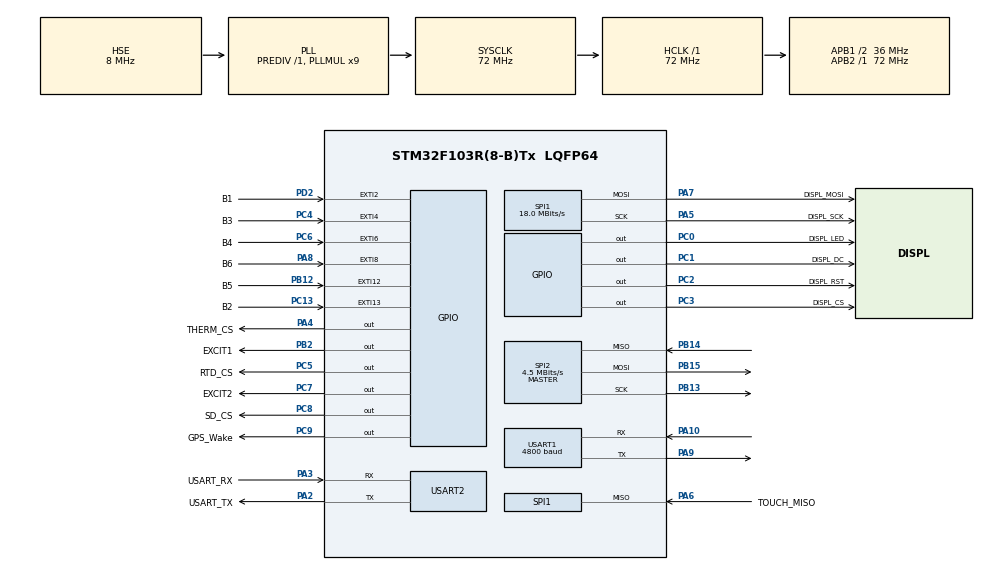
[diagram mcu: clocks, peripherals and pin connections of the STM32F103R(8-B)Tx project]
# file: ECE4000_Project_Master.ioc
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Dma.Request0=SPI1_RX
Dma.Request1=SPI1_TX
Dma.Request2=USART1_RX
Dma.SPI1_RX.0.Direction=DMA_PERIPH_TO_MEMORY
Dma.SPI1_RX.0.Instance=DMA1_Channel2
Dma.SPI1_RX.0.MemDataAlignment=DMA_MDATAALIGN_BYTE
Dma.SPI1_RX.0.MemInc=DMA_MINC_ENABLE
Dma.SPI1_RX.0.Mode=DMA_NORMAL
Dma.SPI1_RX.0.PeriphDataAlignment=DMA_PDATAALIGN_BYTE
Dma.SPI1_RX.0.PeriphInc=DMA_PINC_DISABLE
Dma.SPI1_RX.0.Priority=DMA_PRIORITY_LOW
Dma.SPI1_TX.1.Direction=DMA_MEMORY_TO_PERIPH
Dma.SPI1_TX.1.Instance=DMA1_Channel3
Dma.SPI1_TX.1.MemDataAlignment=DMA_MDATAALIGN_BYTE
Dma.SPI1_TX.1.MemInc=DMA_MINC_ENABLE
Dma.SPI1_TX.1.Mode=DMA_NORMAL
Dma.SPI1_TX.1.PeriphDataAlignment=DMA_PDATAALIGN_BYTE
Dma.SPI1_TX.1.PeriphInc=DMA_PINC_DISABLE
Dma.SPI1_TX.1.Priority=DMA_PRIORITY_LOW
Dma.USART1_RX.2.Direction=DMA_PERIPH_TO_MEMORY
Dma.USART1_RX.2.Instance=DMA1_Channel5
Dma.USART1_RX.2.MemDataAlignment=DMA_MDATAALIGN_BYTE
Dma.USART1_RX.2.MemInc=DMA_MINC_ENABLE
Dma.USART1_RX.2.Mode=DMA_CIRCULAR
Dma.USART1_RX.2.PeriphDataAlignment=DMA_PDATAALIGN_BYTE
Dma.USART1_RX.2.PeriphInc=DMA_PINC_DISABLE
Dma.USART1_RX.2.Priority=DMA_PRIORITY_LOW
FATFS._CODE_PAGE=437
FATFS._USE_LABEL=1
FATFS._USE_LFN=1
Mcu.Family=STM32F1
Mcu.Name=STM32F103R(8-B)Tx
Mcu.Package=LQFP64
NVIC.DMA1_Channel2_IRQn=true\:0\:0\:false\:false\:true\:false\:true\:true
NVIC.DMA1_Channel3_IRQn=true\:0\:0\:false\:false\:true\:false\:true\:true
NVIC.DMA1_Channel5_IRQn=true\:0\:0\:false\:false\:true\:false\:true\:true
NVIC.EXTI15_10_IRQn=true\:0\:0\:false\:false\:true\:true\:true\:true
NVIC.EXTI2_IRQn=true\:0\:0\:false\:false\:true\:true\:true\:true
NVIC.EXTI4_IRQn=true\:0\:0\:false\:false\:true\:true\:true\:true
NVIC.EXTI9_5_IRQn=true\:0\:0\:false\:false\:true\:true\:true\:true
NVIC.PriorityGroup=NVIC_PRIORITYGROUP_4
NVIC.TIM2_IRQn=true\:0\:0\:false\:false\:true\:true\:true\:true
PA10.Mode=Asynchronous
PA10.Signal=USART1_RX
PA13.GPIO_Label=TMS
PA13.Mode=Serial_Wire
PA13.Signal=SYS_JTMS-SWDIO
PA14.GPIO_Label=TCK
PA14.Mode=Serial_Wire
PA14.Signal=SYS_JTCK-SWCLK
PA2.GPIO_Label=USART_TX
PA2.GPIO_Mode=GPIO_MODE_AF_PP
PA2.GPIO_PuPd=GPIO_NOPULL
PA2.GPIO_Speed=GPIO_SPEED_FREQ_LOW
PA2.Mode=Asynchronous
PA2.Signal=USART2_TX
PA3.GPIO_Label=USART_RX
PA3.GPIO_Mode=GPIO_MODE_AF_PP
PA3.GPIO_PuPd=GPIO_NOPULL
PA3.GPIO_Speed=GPIO_SPEED_FREQ_LOW
PA3.Mode=Asynchronous
PA3.Signal=USART2_RX
PA4.GPIO_Label=THERM_CS
PA4.GPIO_Speed=GPIO_SPEED_FREQ_HIGH
PA4.PinState=GPIO_PIN_SET
PA4.Signal=GPIO_Output
PA5.GPIO_Label=DISPL_SCK
PA5.Mode=Full_Duplex_Master
PA5.Signal=SPI1_SCK
PA6.GPIO_Label=TOUCH_MISO
PA6.GPIO_PuPd=GPIO_NOPULL
PA6.Mode=Full_Duplex_Master
PA6.Signal=SPI1_MISO
PA7.GPIO_Label=DISPL_MOSI
PA7.Mode=Full_Duplex_Master
PA7.Signal=SPI1_MOSI
PA8.GPIO_Label=B6
PA8.GPIO_ModeDefaultEXTI=GPIO_MODE_IT_FALLING
PA8.Signal=GPXTI8
PA9.Mode=Asynchronous
PA9.Signal=USART1_TX
PB12.GPIO_Label=B5
PB12.GPIO_ModeDefaultEXTI=GPIO_MODE_IT_FALLING
PB12.Signal=GPXTI12
PB13.Mode=Full_Duplex_Master
PB13.Signal=SPI2_SCK
PB14.Mode=Full_Duplex_Master
PB14.Signal=SPI2_MISO
PB15.Mode=Full_Duplex_Master
PB15.Signal=SPI2_MOSI
PB2.GPIO_Label=EXCIT1
PB2.Signal=GPIO_Output
PC0.GPIO_Label=DISPL_LED
PC0.Signal=GPIO_Output
PC1.GPIO_Label=DISPL_DC
PC1.Signal=GPIO_Output
PC13-TAMPER-RTC.GPIO_Label=B2
PC13-TAMPER-RTC.GPIO_ModeDefaultEXTI=GPIO_MODE_IT_FALLING
PC13-TAMPER-RTC.Signal=GPXTI13
PC14-OSC32_IN.Mode=LSE-External-Oscillator
PC14-OSC32_IN.Signal=RCC_OSC32_IN
PC15-OSC32_OUT.Mode=LSE-External-Oscillator
PC15-OSC32_OUT.Signal=RCC_OSC32_OUT
PC2.GPIO_Label=DISPL_RST
PC2.Signal=GPIO_Output
PC3.GPIO_Label=DISPL_CS
PC3.PinState=GPIO_PIN_SET
PC3.Signal=GPIO_Output
PC4.GPIO_Label=B3
PC4.GPIO_ModeDefaultEXTI=GPIO_MODE_IT_FALLING
PC4.Signal=GPXTI4
PC5.GPIO_Label=RTD_CS
PC5.GPIO_Speed=GPIO_SPEED_FREQ_HIGH
PC5.PinState=GPIO_PIN_SET
PC5.Signal=GPIO_Output
PC6.GPIO_Label=B4
PC6.GPIO_ModeDefaultEXTI=GPIO_MODE_IT_FALLING
PC6.Signal=GPXTI6
PC7.GPIO_Label=EXCIT2
PC7.Signal=GPIO_Output
PC8.GPIO_Label=SD_CS
PC8.GPIO_PuPd=GPIO_NOPULL
PC8.GPIO_Speed=GPIO_SPEED_FREQ_HIGH
PC8.PinState=GPIO_PIN_SET
PC8.Signal=GPIO_Output
PC9.GPIO_Label=GPS_Wake
PC9.Signal=GPIO_Output
PD0-OSC_IN.Mode=HSE-External-Clock-Source
PD0-OSC_IN.Signal=RCC_OSC_IN
PD1-OSC_OUT.Mode=HSE-External-Clock-Source
PD1-OSC_OUT.Signal=RCC_OSC_OUT
PD2.GPIO_Label=B1
PD2.GPIO_ModeDefaultEXTI=GPIO_MODE_IT_FALLING
PD2.Signal=GPXTI2
ProjectManager.HeapSize=0x200
ProjectManager.StackSize=0x400
ProjectManager.TargetToolchain=STM32CubeIDE
RCC.AHBFreq_Value=72000000
RCC.APB1CLKDivider=RCC_HCLK_DIV2
RCC.APB1Freq_Value=36000000
RCC.APB1TimFreq_Value=72000000
RCC.APB2Freq_Value=72000000
RCC.APB2TimFreq_Value=72000000
RCC.HCLKFreq_Value=72000000
RCC.HSE_Timout=3000
RCC.PLLMUL=RCC_PLL_MUL9
RCC.PLLSourceVirtual=RCC_PLLSOURCE_HSE
RCC.RTCClockSelection=RCC_RTCCLKSOURCE_LSE
RCC.SYSCLKFreq_VALUE=72000000
RCC.SYSCLKSource=RCC_SYSCLKSOURCE_PLLCLK
RCC.USBFreq_Value=72000000
SPI1.BaudRatePrescaler=SPI_BAUDRATEPRESCALER_4
SPI1.CalculateBaudRate=18.0 MBits/s
SPI1.Direction=SPI_DIRECTION_2LINES
SPI1.Mode=SPI_MODE_MASTER
SPI1.VirtualType=VM_MASTER
SPI2.BaudRatePrescaler=SPI_BAUDRATEPRESCALER_8
SPI2.CLKPhase=SPI_PHASE_2EDGE
SPI2.CalculateBaudRate=4.5 MBits/s
SPI2.Direction=SPI_DIRECTION_2LINES
SPI2.Mode=SPI_MODE_MASTER
SPI2.VirtualType=VM_MASTER
TIM2.Period=1000-1
TIM2.Prescaler=7200-1
USART1.BaudRate=4800
USART1.VirtualMode=VM_ASYNC
USART2.VirtualMode=VM_ASYNC
VP_FATFS_VS_Generic.Mode=User_defined
VP_TIM2_VS_ClockSourceINT.Mode=Internal
VP_TIM3_VS_ClockSourceINT.Mode=Internal
board=NUCLEO-F103RB

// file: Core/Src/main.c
/* USER CODE BEGIN Header */
/**
  ******************************************************************************
  * @file           : main.c
  * @brief          : Main program body
  ******************************************************************************
  * @attention
  *
  * Copyright (c) 2026 STMicroelectronics.
  * All rights reserved.
  *
  * This software is licensed under terms that can be found in the LICENSE file
  * in the root directory of this software component.
  * If no LICENSE file comes with this software, it is provided AS-IS.
  *
  ******************************************************************************
  */
/* USER CODE END Header */
#include "main.h"
#include "fatfs.h"

/* USER CODE BEGIN Includes */
#include "sd_functions.h"
#include "max31865_stm32.h"
#include "max31856_stm32.h"
#include "SD_Commands.h"
#include "sd_spi.h"
#include "z_displ_ILI9XXX.h"
#include <stdio.h>
#include <string.h>
#include "MAX_Commands.h"
#include "Menus.h"
#include "fileselecting.h"

/* USER CODE END Includes */

SPI_HandleTypeDef hspi1;
SPI_HandleTypeDef hspi2;
DMA_HandleTypeDef hdma_spi1_rx;
DMA_HandleTypeDef hdma_spi1_tx;

TIM_HandleTypeDef htim2;
TIM_HandleTypeDef htim3;

UART_HandleTypeDef huart1;
UART_HandleTypeDef huart2;
DMA_HandleTypeDef hdma_usart1_rx;

/* USER CODE BEGIN PV */
uint16_t MAINTEXTCOLOUR = WHITE;
uint16_t SECONDARYTEXTCOLOUR = CYAN;
uint16_t BACKGROUNDCOLOUR = BLACK;

// Faaiz UI 0/1 states
static uint8_t ui_sd_mounted   = 0;
static uint8_t ui_create_file  = 0;
static uint8_t ui_run_test     = 0;
static uint8_t ui_excit1       = 0;
static uint8_t ui_excit2       = 0;

// Faaiz screen Layout
#define UI_X      20
#define UI_Y0     40
#define UI_DY     40

volatile uint8_t TEMP_TIMER = 0;

char filename[32] = "TESTTESTTEST";

/* USER CODE END PV */

void SystemClock_Config(void);
static void MX_GPIO_Init(void);
static void MX_DMA_Init(void);
static void MX_SPI1_Init(void);
static void MX_SPI2_Init(void);
static void MX_USART2_UART_Init(void);
static void MX_USART1_UART_Init(void);
static void MX_TIM3_Init(void);
static void MX_TIM2_Init(void);

/* USER CODE BEGIN 0 */
volatile uint8_t buttons = 0;

int _write(int file, char *ptr, int len) {
    for (int i = 0; i < len; i++) {
        ITM_SendChar((*ptr++));
    }
    return len;
}

FlashMeta_t meta;
void Flash_WriteMeta(FlashMeta_t *m)
{
	m->crc = m->deltaTemp + m->deltaTime + m->fileID + m->heater;
    HAL_FLASH_Unlock();

    FLASH_EraseInitTypeDef erase;
    uint32_t pageError = 0;

    erase.TypeErase   = FLASH_TYPEERASE_PAGES;
    erase.PageAddress = FLASH_META_ADDR;
    erase.NbPages     = 1;

    HAL_FLASHEx_Erase(&erase, &pageError);

    // Write struct word-by-word
    const uint32_t *src = (const uint32_t*)m;
    uint32_t addr = FLASH_META_ADDR;

    for (size_t i = 0; i < sizeof(FlashMeta_t) / 4; i++)
    {
        HAL_FLASH_Program(FLASH_TYPEPROGRAM_WORD, addr, src[i]);
        addr += 4;
    }

    HAL_FLASH_Lock();
}
void Flash_ReadMeta(FlashMeta_t *m)
{
    memcpy(m, (void*)FLASH_META_ADDR, sizeof(FlashMeta_t));

    // If flash is erased, fields will be 0xFFFFFFFF
    if (m->crc != m->deltaTemp + m->deltaTime + m->fileID + m->heater)
    {
        m->fileID    = 0;
        m->deltaTemp = 10.0;
        m->deltaTime = 180;
        m->heater = 3;
        m->calCoef = 1;
        Flash_WriteMeta(m);
    }
}

// Faaiz screen
//static void UI_DrawLine(uint8_t line, const char *text, uint8_t val)
void UI_DrawLine(uint8_t line, const char *text, uint8_t val)
{
  char buf[64];
  int x, y;
  sFONT font = Font16;
  uint32_t colour=MAINTEXTCOLOUR;

//  snprintf(buf, sizeof(buf), "%s: %d", text, val);
  snprintf(buf, sizeof(buf), "%s", text);

  switch(line)
  {
  	  case 0:
  		  font = Font24;
  		  colour = SECONDARYTEXTCOLOUR;
  		  x=480/2 - (17*strlen(buf)/2);
  		  y=5;
  		  break;
  	  case 1:
  		  x=5;
  		  y=5+24;
  		  break;
  	  case 2:
  		  x=5;
  		  y=320/2 - 16/2;
  		  break;
  	  case 3:
  		  x=5;
  		  y=320-5-16;
  		  break;
  	  case 4:
  		  x=480 - 11*strlen(buf) - 5;
  		  y=5+24;
  		  break;
  	  case 5:
  		  x=480 - 11*strlen(buf) - 5;
  		  y=320/2 - 16/2;
  		  break;
  	  case 6:
  		  x=480 - 11*strlen(buf) - 5;
  		  y=320-5-16;
  		  break;
  }
  Displ_WString(x, y, buf, font, 1, colour, BACKGROUNDCOLOUR);
}

void UI_DrawAll(void)
{
  Displ_CLS(BACKGROUNDCOLOUR);

  Displ_WString(UI_X, 10, "Button / Screen Test", Font16, 1, MAINTEXTCOLOUR, BACKGROUNDCOLOUR);

  UI_DrawLine(0, "B1 - Mount SD Card",   ui_sd_mounted);
  UI_DrawLine(1, "B2 - Create file",     ui_create_file);
  UI_DrawLine(2, "B3 - Run Test",        ui_run_test);
  UI_DrawLine(3, "B4 - Exciter Relay 1", ui_excit1);
  UI_DrawLine(4, "B5 - Exciter Relay 2", ui_excit2);
}
// Faaiz screen
/* USER CODE END 0 */

int main(void)
{

  /* MCU Configuration--------------------------------------------------------*/

  /* Reset of all peripherals, Initializes the Flash interface and the Systick. */
  HAL_Init();

  /* Configure the system clock */
  SystemClock_Config();

  /* Initialize all configured peripherals */
  MX_GPIO_Init();
  MX_DMA_Init();
  MX_SPI1_Init();
  MX_SPI2_Init();
  MX_USART2_UART_Init();
  MX_USART1_UART_Init();
  MX_TIM3_Init();
  MX_TIM2_Init();
  /* USER CODE BEGIN 2 */

	SD_CS_HIGH();  // Ensure card is deselected

	GPS_Init(&huart1);

	Displ_Init(Displ_Orientat_90);
	Displ_CLS(BACKGROUNDCOLOUR);
//	Displ_BackLight('1');
	HAL_GPIO_WritePin(DISPL_LED_GPIO_Port, DISPL_LED_Pin, 0);

	MAX_INITs(&hspi2);

	Displ_WString(480/2 - 6*17*2, 320/2 - 24, "C-Therm TLS", Font24, 2, SECONDARYTEXTCOLOUR, BACKGROUNDCOLOUR);
	Displ_WString(480/2 - 4*17*2, 320/2, "Handheld", Font24, 2, SECONDARYTEXTCOLOUR, BACKGROUNDCOLOUR);
	HAL_GPIO_WritePin(DISPL_LED_GPIO_Port, DISPL_LED_Pin, 1);
//	HAL_Delay(1000);
	Displ_WString(10, 10, "SD Card not detecting. Rebooting...", Font8, 1, RED, BACKGROUNDCOLOUR);

	FRESULT res = sd_reset_and_mount();
	if (res != FR_OK)
	{
		NVIC_SystemReset();
		while(1);
	}
	Displ_WString(10, 10, "SD Card not detecting. Rebooting...", Font8, 1, BACKGROUNDCOLOUR, BACKGROUNDCOLOUR);
	Displ_WString(10, 10, "SD Mounted!", Font8, 1, GREEN, BACKGROUNDCOLOUR);
	HAL_Delay(1500);

  /* USER CODE END 2 */

  /* Infinite loop */
  /* USER CODE BEGIN WHILE */
  while (1)
  {
	  menus();
	  sd_unmount();
    /* USER CODE END WHILE */

  }
}

void SystemClock_Config(void)
{
  RCC_OscInitTypeDef RCC_OscInitStruct = {0};
  RCC_ClkInitTypeDef RCC_ClkInitStruct = {0};

  /** Initializes the RCC Oscillators according to the specified parameters
  * in the RCC_OscInitTypeDef structure.
  */
  RCC_OscInitStruct.OscillatorType = RCC_OSCILLATORTYPE_HSE;
  RCC_OscInitStruct.HSEState = RCC_HSE_BYPASS;
  RCC_OscInitStruct.HSEPredivValue = RCC_HSE_PREDIV_DIV1;
  RCC_OscInitStruct.HSIState = RCC_HSI_ON;
  RCC_OscInitStruct.PLL.PLLState = RCC_PLL_ON;
  RCC_OscInitStruct.PLL.PLLSource = RCC_PLLSOURCE_HSE;
  RCC_OscInitStruct.PLL.PLLMUL = RCC_PLL_MUL9;
  if (HAL_RCC_OscConfig(&RCC_OscInitStruct) != HAL_OK)
  {
    Error_Handler();
  }

  /** Initializes the CPU, AHB and APB buses clocks
  */
  RCC_ClkInitStruct.ClockType = RCC_CLOCKTYPE_HCLK|RCC_CLOCKTYPE_SYSCLK
                              |RCC_CLOCKTYPE_PCLK1|RCC_CLOCKTYPE_PCLK2;
  RCC_ClkInitStruct.SYSCLKSource = RCC_SYSCLKSOURCE_PLLCLK;
  RCC_ClkInitStruct.AHBCLKDivider = RCC_SYSCLK_DIV1;
  RCC_ClkInitStruct.APB1CLKDivider = RCC_HCLK_DIV2;
  RCC_ClkInitStruct.APB2CLKDivider = RCC_HCLK_DIV1;

  if (HAL_RCC_ClockConfig(&RCC_ClkInitStruct, FLASH_LATENCY_2) != HAL_OK)
  {
    Error_Handler();
  }
}

static void MX_SPI1_Init(void)
{

  /* SPI1 parameter configuration*/
  hspi1.Instance = SPI1;
  hspi1.Init.Mode = SPI_MODE_MASTER;
  hspi1.Init.Direction = SPI_DIRECTION_2LINES;
  hspi1.Init.DataSize = SPI_DATASIZE_8BIT;
  hspi1.Init.CLKPolarity = SPI_POLARITY_LOW;
  hspi1.Init.CLKPhase = SPI_PHASE_1EDGE;
  hspi1.Init.NSS = SPI_NSS_SOFT;
  hspi1.Init.BaudRatePrescaler = SPI_BAUDRATEPRESCALER_4;
  hspi1.Init.FirstBit = SPI_FIRSTBIT_MSB;
  hspi1.Init.TIMode = SPI_TIMODE_DISABLE;
  hspi1.Init.CRCCalculation = SPI_CRCCALCULATION_DISABLE;
  hspi1.Init.CRCPolynomial = 10;
  if (HAL_SPI_Init(&hspi1) != HAL_OK)
  {
    Error_Handler();
  }

}

static void MX_SPI2_Init(void)
{

  /* SPI2 parameter configuration*/
  hspi2.Instance = SPI2;
  hspi2.Init.Mode = SPI_MODE_MASTER;
  hspi2.Init.Direction = SPI_DIRECTION_2LINES;
  hspi2.Init.DataSize = SPI_DATASIZE_8BIT;
  hspi2.Init.CLKPolarity = SPI_POLARITY_LOW;
  hspi2.Init.CLKPhase = SPI_PHASE_2EDGE;
  hspi2.Init.NSS = SPI_NSS_SOFT;
  hspi2.Init.BaudRatePrescaler = SPI_BAUDRATEPRESCALER_8;
  hspi2.Init.FirstBit = SPI_FIRSTBIT_MSB;
  hspi2.Init.TIMode = SPI_TIMODE_DISABLE;
  hspi2.Init.CRCCalculation = SPI_CRCCALCULATION_DISABLE;
  hspi2.Init.CRCPolynomial = 10;
  if (HAL_SPI_Init(&hspi2) != HAL_OK)
  {
    Error_Handler();
  }

}

static void MX_TIM2_Init(void)
{

  TIM_ClockConfigTypeDef sClockSourceConfig = {0};
  TIM_MasterConfigTypeDef sMasterConfig = {0};

  htim2.Instance = TIM2;
  htim2.Init.Prescaler = 7200-1;
  htim2.Init.CounterMode = TIM_COUNTERMODE_UP;
  htim2.Init.Period = 1000-1;
  htim2.Init.ClockDivision = TIM_CLOCKDIVISION_DIV1;
  htim2.Init.AutoReloadPreload = TIM_AUTORELOAD_PRELOAD_DISABLE;
  if (HAL_TIM_Base_Init(&htim2) != HAL_OK)
  {
    Error_Handler();
  }
  sClockSourceConfig.ClockSource = TIM_CLOCKSOURCE_INTERNAL;
  if (HAL_TIM_ConfigClockSource(&htim2, &sClockSourceConfig) != HAL_OK)
  {
    Error_Handler();
  }
  sMasterConfig.MasterOutputTrigger = TIM_TRGO_RESET;
  sMasterConfig.MasterSlaveMode = TIM_MASTERSLAVEMODE_DISABLE;
  if (HAL_TIMEx_MasterConfigSynchronization(&htim2, &sMasterConfig) != HAL_OK)
  {
    Error_Handler();
  }

}

static void MX_TIM3_Init(void)
{

  TIM_ClockConfigTypeDef sClockSourceConfig = {0};
  TIM_MasterConfigTypeDef sMasterConfig = {0};

  htim3.Instance = TIM3;
  htim3.Init.Prescaler = 0;
  htim3.Init.CounterMode = TIM_COUNTERMODE_UP;
  htim3.Init.Period = 65535;
  htim3.Init.ClockDivision = TIM_CLOCKDIVISION_DIV1;
  htim3.Init.AutoReloadPreload = TIM_AUTORELOAD_PRELOAD_DISABLE;
  if (HAL_TIM_Base_Init(&htim3) != HAL_OK)
  {
    Error_Handler();
  }
  sClockSourceConfig.ClockSource = TIM_CLOCKSOURCE_INTERNAL;
  if (HAL_TIM_ConfigClockSource(&htim3, &sClockSourceConfig) != HAL_OK)
  {
    Error_Handler();
  }
  sMasterConfig.MasterOutputTrigger = TIM_TRGO_RESET;
  sMasterConfig.MasterSlaveMode = TIM_MASTERSLAVEMODE_DISABLE;
  if (HAL_TIMEx_MasterConfigSynchronization(&htim3, &sMasterConfig) != HAL_OK)
  {
    Error_Handler();
  }

}

static void MX_USART1_UART_Init(void)
{

  huart1.Instance = USART1;
  huart1.Init.BaudRate = 9600;
  huart1.Init.WordLength = UART_WORDLENGTH_8B;
  huart1.Init.StopBits = UART_STOPBITS_1;
  huart1.Init.Parity = UART_PARITY_NONE;
  huart1.Init.Mode = UART_MODE_TX_RX;
  huart1.Init.HwFlowCtl = UART_HWCONTROL_NONE;
  huart1.Init.OverSampling = UART_OVERSAMPLING_16;
  if (HAL_UART_Init(&huart1) != HAL_OK)
  {
    Error_Handler();
  }

}

static void MX_USART2_UART_Init(void)
{

  huart2.Instance = USART2;
  huart2.Init.BaudRate = 115200;
  huart2.Init.WordLength = UART_WORDLENGTH_8B;
  huart2.Init.StopBits = UART_STOPBITS_1;
  huart2.Init.Parity = UART_PARITY_NONE;
  huart2.Init.Mode = UART_MODE_TX_RX;
  huart2.Init.HwFlowCtl = UART_HWCONTROL_NONE;
  huart2.Init.OverSampling = UART_OVERSAMPLING_16;
  if (HAL_UART_Init(&huart2) != HAL_OK)
  {
    Error_Handler();
  }

}

static void MX_DMA_Init(void)
{

  /* DMA controller clock enable */
  __HAL_RCC_DMA1_CLK_ENABLE();

  /* DMA interrupt init */
  /* DMA1_Channel2_IRQn interrupt configuration */
  HAL_NVIC_SetPriority(DMA1_Channel2_IRQn, 0, 0);
  HAL_NVIC_EnableIRQ(DMA1_Channel2_IRQn);
  /* DMA1_Channel3_IRQn interrupt configuration */
  HAL_NVIC_SetPriority(DMA1_Channel3_IRQn, 0, 0);
  HAL_NVIC_EnableIRQ(DMA1_Channel3_IRQn);
  /* DMA1_Channel5_IRQn interrupt configuration */
  HAL_NVIC_SetPriority(DMA1_Channel5_IRQn, 0, 0);
  HAL_NVIC_EnableIRQ(DMA1_Channel5_IRQn);

}

static void MX_GPIO_Init(void)
{
  GPIO_InitTypeDef GPIO_InitStruct = {0};

  /* GPIO Ports Clock Enable */
  __HAL_RCC_GPIOC_CLK_ENABLE();
  __HAL_RCC_GPIOD_CLK_ENABLE();
  __HAL_RCC_GPIOA_CLK_ENABLE();
  __HAL_RCC_GPIOB_CLK_ENABLE();

  /*Configure GPIO pin Output Level */
  HAL_GPIO_WritePin(GPIOC, DISPL_LED_Pin|DISPL_DC_Pin|DISPL_RST_Pin|EXCIT2_Pin
                          |GPS_Wake_Pin, GPIO_PIN_RESET);

  /*Configure GPIO pin Output Level */
  HAL_GPIO_WritePin(GPIOC, DISPL_CS_Pin|RTD_CS_Pin|SD_CS_Pin, GPIO_PIN_SET);

  /*Configure GPIO pin Output Level */
  HAL_GPIO_WritePin(THERM_CS_GPIO_Port, THERM_CS_Pin, GPIO_PIN_SET);

  /*Configure GPIO pin Output Level */
  HAL_GPIO_WritePin(EXCIT1_GPIO_Port, EXCIT1_Pin, GPIO_PIN_RESET);

  /*Configure GPIO pins : B2_Pin B3_Pin B4_Pin */
  GPIO_InitStruct.Pin = B2_Pin|B3_Pin|B4_Pin;
  GPIO_InitStruct.Mode = GPIO_MODE_IT_FALLING;
  GPIO_InitStruct.Pull = GPIO_NOPULL;
  HAL_GPIO_Init(GPIOC, &GPIO_InitStruct);

  /*Configure GPIO pins : DISPL_LED_Pin DISPL_DC_Pin DISPL_RST_Pin DISPL_CS_Pin
                           EXCIT2_Pin GPS_Wake_Pin */
  GPIO_InitStruct.Pin = DISPL_LED_Pin|DISPL_DC_Pin|DISPL_RST_Pin|DISPL_CS_Pin
                          |EXCIT2_Pin|GPS_Wake_Pin;
  GPIO_InitStruct.Mode = GPIO_MODE_OUTPUT_PP;
  GPIO_InitStruct.Pull = GPIO_NOPULL;
  GPIO_InitStruct.Speed = GPIO_SPEED_FREQ_LOW;
  HAL_GPIO_Init(GPIOC, &GPIO_InitStruct);

  /*Configure GPIO pin : THERM_CS_Pin */
  GPIO_InitStruct.Pin = THERM_CS_Pin;
  GPIO_InitStruct.Mode = GPIO_MODE_OUTPUT_PP;
  GPIO_InitStruct.Pull = GPIO_NOPULL;
  GPIO_InitStruct.Speed = GPIO_SPEED_FREQ_HIGH;
  HAL_GPIO_Init(THERM_CS_GPIO_Port, &GPIO_InitStruct);

  /*Configure GPIO pins : RTD_CS_Pin SD_CS_Pin */
  GPIO_InitStruct.Pin = RTD_CS_Pin|SD_CS_Pin;
  GPIO_InitStruct.Mode = GPIO_MODE_OUTPUT_PP;
  GPIO_InitStruct.Pull = GPIO_NOPULL;
  GPIO_InitStruct.Speed = GPIO_SPEED_FREQ_HIGH;
  HAL_GPIO_Init(GPIOC, &GPIO_InitStruct);

  /*Configure GPIO pin : EXCIT1_Pin */
  GPIO_InitStruct.Pin = EXCIT1_Pin;
  GPIO_InitStruct.Mode = GPIO_MODE_OUTPUT_PP;
  GPIO_InitStruct.Pull = GPIO_NOPULL;
  GPIO_InitStruct.Speed = GPIO_SPEED_FREQ_LOW;
  HAL_GPIO_Init(EXCIT1_GPIO_Port, &GPIO_InitStruct);

  /*Configure GPIO pin : B5_Pin */
  GPIO_InitStruct.Pin = B5_Pin;
  GPIO_InitStruct.Mode = GPIO_MODE_IT_FALLING;
  GPIO_InitStruct.Pull = GPIO_NOPULL;
  HAL_GPIO_Init(B5_GPIO_Port, &GPIO_InitStruct);

  /*Configure GPIO pin : B6_Pin */
  GPIO_InitStruct.Pin = B6_Pin;
  GPIO_InitStruct.Mode = GPIO_MODE_IT_FALLING;
  GPIO_InitStruct.Pull = GPIO_NOPULL;
  HAL_GPIO_Init(B6_GPIO_Port, &GPIO_InitStruct);

  /*Configure GPIO pin : B1_Pin */
  GPIO_InitStruct.Pin = B1_Pin;
  GPIO_InitStruct.Mode = GPIO_MODE_IT_FALLING;
  GPIO_InitStruct.Pull = GPIO_NOPULL;
  HAL_GPIO_Init(B1_GPIO_Port, &GPIO_InitStruct);

  /* EXTI interrupt init*/
  HAL_NVIC_SetPriority(EXTI2_IRQn, 0, 0);
  HAL_NVIC_EnableIRQ(EXTI2_IRQn);

  HAL_NVIC_SetPriority(EXTI4_IRQn, 0, 0);
  HAL_NVIC_EnableIRQ(EXTI4_IRQn);

  HAL_NVIC_SetPriority(EXTI9_5_IRQn, 0, 0);
  HAL_NVIC_EnableIRQ(EXTI9_5_IRQn);

  HAL_NVIC_SetPriority(EXTI15_10_IRQn, 0, 0);
  HAL_NVIC_EnableIRQ(EXTI15_10_IRQn);

}

/* USER CODE BEGIN 4 */
void HAL_GPIO_EXTI_Callback(uint16_t GPIO_Pin)
{
  if(GPIO_Pin == B1_Pin)
  {
	  buttons |= 0x01;
  }
  if(GPIO_Pin == B2_Pin)
  {
	  buttons |= 0x02;
  }
  if(GPIO_Pin == B3_Pin)
  {
	  buttons |= 0x04;
  }
  if(GPIO_Pin == B4_Pin)
  {
	  buttons |= 0x08;
  }
  if(GPIO_Pin == B5_Pin)
  {
	  buttons |= 0x10;
  }
  if(GPIO_Pin == B6_Pin)
  {
	  buttons |= 0x20;
  }
}

void HAL_SPI_TxCpltCallback(SPI_HandleTypeDef *hspi)
{
    SD_OnSpiTxComplete(hspi);
    Displ_OnSpiTxComplete(hspi);
}

void HAL_TIM_PeriodElapsedCallback(TIM_HandleTypeDef *htim)
{
  if (htim->Instance == TIM2) // Check if the interrupt is from TIM2
  {
	  TEMP_TIMER = 1;
  }
}
/* USER CODE END 4 */

void Error_Handler(void)
{
  __disable_irq();
  while (1)
  {
  }
}
